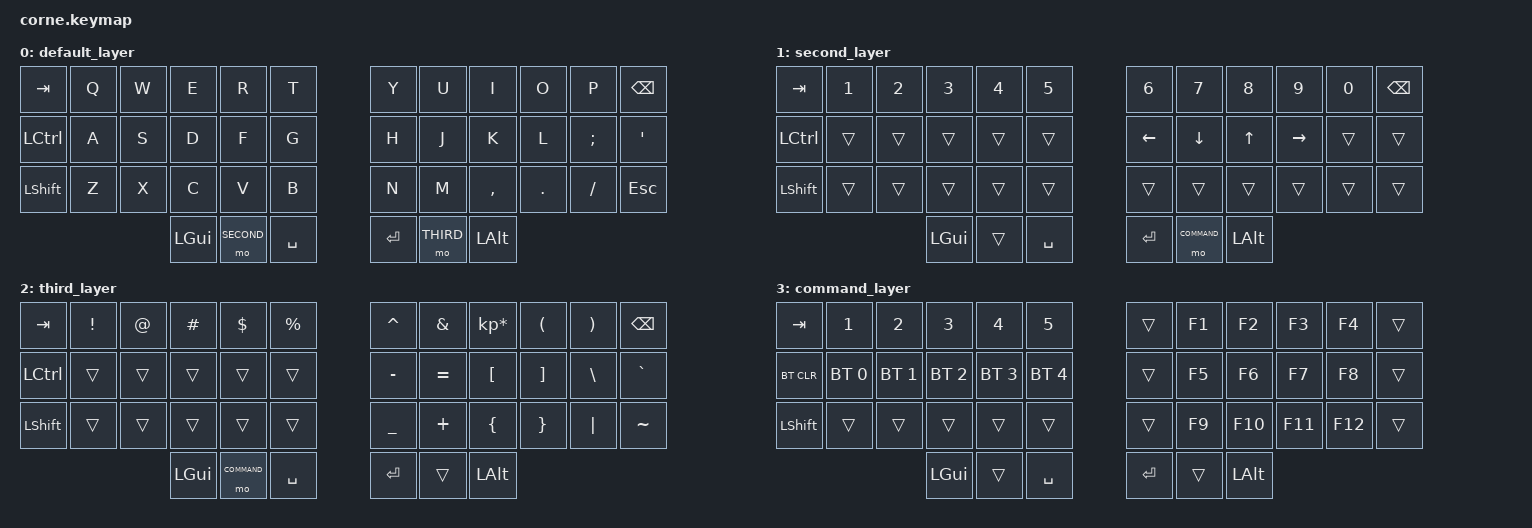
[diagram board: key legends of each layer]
/*
 * Copyright (c) 2020 The ZMK Contributors
 *
 * SPDX-License-Identifier: MIT
 */

#include <behaviors.dtsi>
#include <dt-bindings/zmk/keys.h>
#include <dt-bindings/zmk/bt.h>

#define DEFAULT 0
#define SECOND 1
#define THIRD 2
#define COMMAND 3

/ {
        keymap {
                compatible = "zmk,keymap";

                default_layer {
// -----------------------------------------------------------------------------------------
// |  TAB |  Q  |  W  |  E  |  R  |  T  |   |  Y  |  U   |  I  |  O  |  P  | BKSP |
// | CTRL |  A  |  S  |  D  |  F  |  G  |   |  H  |  J   |  K  |  L  |  ;  |  '   |
// | SHFT |  Z  |  X  |  C  |  V  |  B  |   |  N  |  M   |  ,  |  .  |  /  | ESC  |
//                    | GUI | 2ND | SPC |   | ENT | 3RD  | ALT |
                        bindings = <
   &kp TAB    &kp Q     &kp W       &kp E       &kp R    &kp T      &kp Y     &kp U  &kp I      &kp O    &kp P     &kp BSPC
   &kp LCTRL  &kp A     &kp S       &kp D       &kp F    &kp G      &kp H     &kp J  &kp K      &kp L    &kp SEMI  &kp SQT
   &kp LSHFT  &kp Z     &kp X       &kp C       &kp V    &kp B      &kp N     &kp M  &kp COMMA  &kp DOT  &kp FSLH  &kp ESC
              &kp LGUI  &mo SECOND  &kp SPACE   &kp RET  &mo THIRD  &kp LALT
                        >;
                };

                second_layer {
// -----------------------------------------------------------------------------------------
// |  TAB |  1  |  2  |  3  |  4  |  5  |   |  6  |  7  |  8  |  9  |  0  | BKSP |
// | CTRL |     |     |     |     |     |   | LFT | DWN |  UP | RGT |     |      |
// | SHFT |     |     |     |     |     |   |     |     |     |     |     |      |
//                    | GUI |     | SPC |   | ENT | CMD | ALT |
                        bindings = <
   &kp TAB    &kp N1  &kp N2  &kp N3    &kp N4  &kp N5      &kp N6    &kp N7       &kp N8    &kp N9     &kp N0  &kp BSPC
   &kp LCTRL  &trans  &trans  &trans    &trans  &trans      &kp LEFT  &kp DOWN     &kp UP    &kp RIGHT  &trans  &trans
   &kp LSHFT  &trans  &trans  &trans    &trans  &trans      &trans    &trans       &trans    &trans     &trans  &trans
                          	   &kp LGUI  &trans  &kp SPACE   &kp RET   &mo COMMAND  &kp LALT
                        >;
                };

                third_layer {
// -----------------------------------------------------------------------------------------
// |  TAB |  !  |  @  |  #  |  $  |  %  |   |  ^  |  &  |  *  |  (  |  )  | BKSP |
// | CTRL |     |     |     |     |     |   |  -  |  =  |  [  |  ]  |  \  |  `   |
// | SHFT |     |     |     |     |     |   |  _  |  +  |  {  |  }  | "|" |  ~   |
//                    | GUI | CMD | SPC |   | ENT |     | ALT |
                        bindings = <
   &kp TAB    &kp EXCL  &kp AT  &kp HASH  &kp DLLR     &kp PRCNT   &kp CARET  &kp AMPS   &kp KP_MULTIPLY  &kp LPAR  &kp RPAR  &kp BSPC
   &kp LCTRL  &trans    &trans  &trans    &trans       &trans      &kp MINUS  &kp EQUAL  &kp LBKT         &kp RBKT  &kp BSLH  &kp GRAVE
   &kp LSHFT  &trans    &trans  &trans    &trans       &trans      &kp UNDER  &kp PLUS   &kp LBRC         &kp RBRC  &kp PIPE  &kp TILDE
                    	           &kp LGUI  &mo COMMAND  &kp SPACE   &kp RET    &trans     &kp LALT
                        >;
                };

                command_layer {
// -----------------------------------------------------------------------------------------
// |  TAB  |  1  |  2  |  3  |  4  |  5  |   |     |  F1 |  F2 |  F3 |  F4 |    |
// | BTCLR | BT1 | BT2 | BT3 | BT4 | BT5 |   |     |  F5 |  F6 |  F7 |  F8 |    |
// | SHFT  |     |     |     |     |     |   |     |  F9 | F10 | F11 | F12 |    |
//                     | GUI |     | SPC |   | ENT |     | ALT |
                        bindings = <
   &kp TAB     &kp N1        &kp N2        &kp N3        &kp N4        &kp N5         &trans   &kp F1  &kp F2    &kp F3   &kp F4   &trans
   &bt BT_CLR  &bt BT_SEL 0  &bt BT_SEL 1  &bt BT_SEL 2  &bt BT_SEL 3  &bt BT_SEL 4   &trans   &kp F5  &kp F6    &kp F7   &kp F8   &trans
   &kp LSHFT   &trans        &trans        &trans        &trans        &trans         &trans   &kp F9  &kp F10   &kp F11  &kp F12  &trans
                                           &kp LGUI      &trans        &kp SPACE      &kp RET  &trans  &kp LALT
                        >;
                };
        };
};

